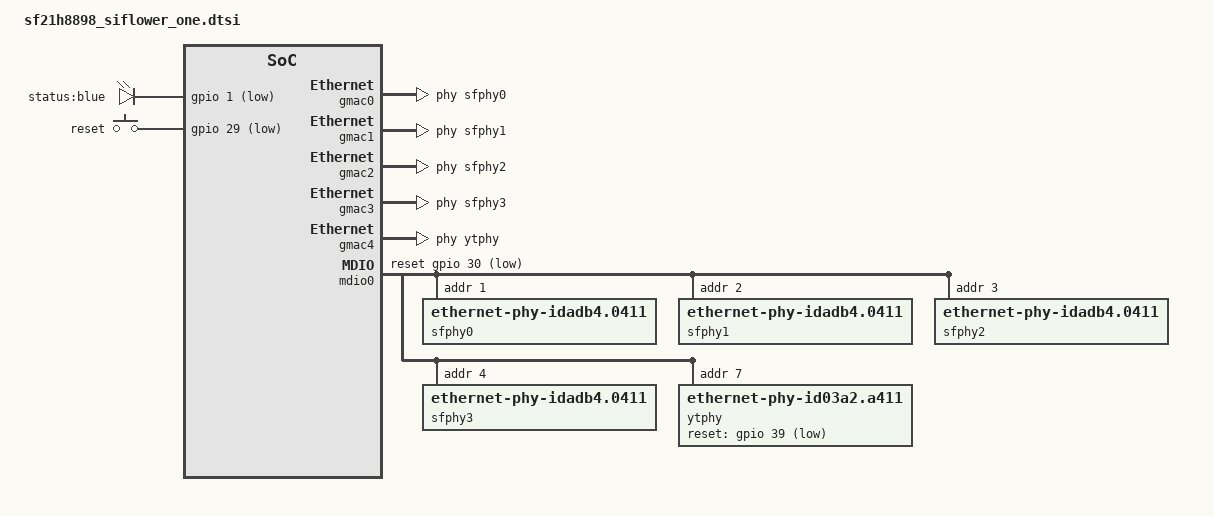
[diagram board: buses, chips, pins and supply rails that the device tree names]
// SPDX-License-Identifier: GPL-2.0
#include "sf21a6826_fullmask.dtsi"
#include <dt-bindings/input/input.h>

/ {
	chosen {
		stdout-path = &uart1;
		tick-timer = &timer;
	};

	leds {
		compatible = "gpio-leds";

		led_status: led-status {
			label = "status:blue";
			gpios = <&gpio 1 GPIO_ACTIVE_LOW>;
		};
	};

	keys {
		compatible = "gpio-keys";
		pinctrl-names = "default";
		pinctrl-0 = <&rstbtn_pin>;

		reset {
			label = "reset";
			linux,code = <KEY_RESTART>;
			gpios = <&gpio 29 GPIO_ACTIVE_LOW>;
		};
	};
};

&iomux {
	rstbtn_pin: rstbtn_pin {
		pinctrl-single,pins = <RGMII_RXD0 GPIO_MODE>;
		pinctrl-single,bias-pullup = <SW_PU SW_PU 0 SW_PU>;
		pinctrl-single,bias-pulldown = <0 SW_PD 0 SW_PD>;
	};
};

&uart1 {
	u-boot,dm-pre-reloc;
};

&watchdog {
	u-boot,dm-pre-reloc;
};

&timer0 {
	u-boot,dm-pre-reloc;
};

&spi0_pins {
	pinctrl-single,pins = <
		SPI0_TXD	FUNC_MODE0
		SPI0_RXD	FUNC_MODE0
		SPI0_CLK	FUNC_MODE0
		SPI0_HOLD	FUNC_MODE0
		SPI0_WP		FUNC_MODE0
	>;
};

&i2c0 {
	status = "disabled";
};

&gmac0 {
        status = "okay";
	local-mac-address = [10 23 45 67 89 ab];
        phy-handle = <&sfphy0>;
};

&gmac1 {
        status = "okay";
	local-mac-address = [10 23 45 67 89 ab];
        phy-handle = <&sfphy1>;
};

&gmac2 {
        status = "okay";
	local-mac-address = [10 23 45 67 89 ab];
        phy-handle = <&sfphy2>;
};

&gmac3 {
        status = "okay";
	local-mac-address = [10 23 45 67 89 ab];
        phy-handle = <&sfphy3>;
};

&gmac4 {
        status = "okay";
	local-mac-address = [10 23 45 67 89 ab];
        phy-handle = <&ytphy>;
};

&mdio0 {
        reset-gpios = <&gpio 30 GPIO_ACTIVE_LOW>;
        reset-delay-us = <10000>;
        reset-post-delay-us = <100000>;

        sfphy0: ethernet-phy@1 {
                compatible = "ethernet-phy-idadb4.0411";
                reg = <0x1>;
        };

        sfphy1: ethernet-phy@2 {
                compatible = "ethernet-phy-idadb4.0411";
                reg = <0x2>;
        };

        sfphy2: ethernet-phy@3 {
                compatible = "ethernet-phy-idadb4.0411";
                reg = <0x3>;
        };

        sfphy3: ethernet-phy@4 {
                compatible = "ethernet-phy-idadb4.0411";
                reg = <0x4>;
        };

	ytphy: ethernet-phy@7 {
                compatible = "ethernet-phy-id03a2.a411";
                reg = <0x7>;
                reset-gpios = <&gpio 39 GPIO_ACTIVE_LOW>;
                reset-assert-us = <10000>;
                reset-deassert-us = <100000>;
        };
};

&mdio1 {
	status = "disabled";
};

&xpcs0 {
	enable;
};

&xpcs1 {
	enable;
};
